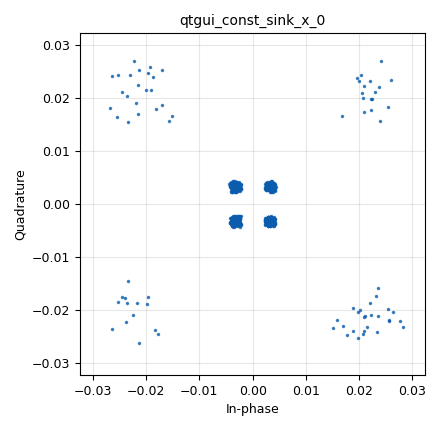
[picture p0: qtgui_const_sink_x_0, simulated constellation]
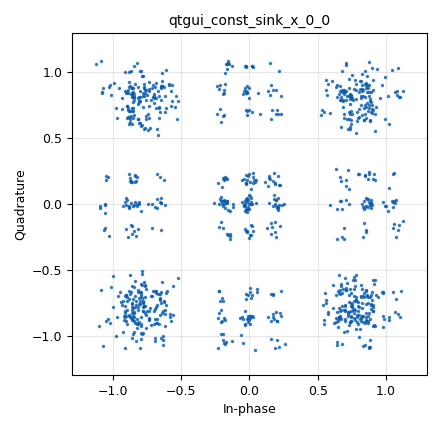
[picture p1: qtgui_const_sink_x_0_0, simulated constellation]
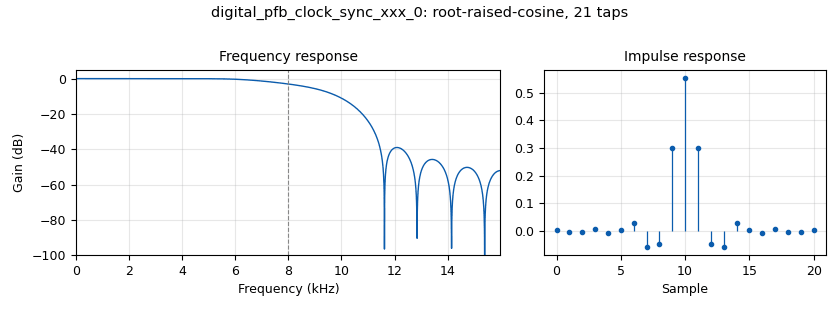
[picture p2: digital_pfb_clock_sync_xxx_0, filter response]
options:
  parameters:
    author: Tomasz Sokołowski
    generate_options: qt_gui
    id: polyphase_clock_sync_demo
    output_language: python
    title: qpsk_constellation
  states: {}

blocks:
- name: constellation
  id: variable_constellation_rect
  parameters:
    const_points: '[-1-1j, -1+1j, 1+1j, 1-1j]'
    imag_sect: '2'
    real_sect: '2'
    rot_sym: '4'
    sym_map: '[0, 1, 3, 2]'
    w_imag_sect: '1'
    w_real_sect: '1'
  states: {}
- name: rrc_filter_taps
  id: variable_rrc_filter_taps
  parameters:
    alpha: '0.4'
    gain: '1.0'
    ntaps: 10*sps
    samp_rate: samp_rate
    sym_rate: samp_rate/sps
  states: {}
- name: samp_rate
  id: variable
  parameters:
    value: '32000'
  states: {}
- name: sps
  id: variable
  parameters:
    value: '2'
  states: {}
- name: analog_random_source_x_0
  id: analog_random_source_x
  parameters:
    max: '256'
    min: '0'
    num_samps: '10000'
    repeat: 'True'
    type: byte
  states: {}
- name: blocks_throttle_0
  id: blocks_throttle
  parameters:
    samples_per_second: samp_rate
    type: complex
  states: {}
- name: blocks_vector_source_x_0
  id: blocks_vector_source_x
  parameters:
    repeat: 'True'
    type: byte
    vector: (0, 0, 1, 0, 1, 1, 1, 1, 1, 0, 0, 1, 0, 1, 1, 1, 1, 1, 1, 0)
  states: {state: disabled}
- name: digital_constellation_modulator_0
  id: digital_constellation_modulator
  parameters:
    constellation: constellation
    differential: 'False'
    excess_bw: '0.35'
    samples_per_symbol: sps
    verbose: 'True'
  states: {}
- name: digital_pfb_clock_sync_xxx_0
  id: digital_pfb_clock_sync_xxx
  parameters:
    filter_size: '32'
    init_phase: '16'
    loop_bw: 2*3.14/100
    max_dev: '1.5'
    osps: '1'
    sps: sps
    taps: rrc_filter_taps
    type: ccf
  states: {}
- name: qtgui_const_sink_x_0
  id: qtgui_const_sink_x
  parameters:
    autoscale: 'True'
    size: '1024'
    type: complex
  states: {}
- name: qtgui_const_sink_x_0_0
  id: qtgui_const_sink_x
  parameters:
    autoscale: 'True'
    size: '1024'
    type: complex
  states: {}

connections:
- [analog_random_source_x_0, '0', digital_constellation_modulator_0, '0']
- [blocks_throttle_0, '0', digital_pfb_clock_sync_xxx_0, '0']
- [blocks_vector_source_x_0, '0', digital_constellation_modulator_0, '0']
- [digital_constellation_modulator_0, '0', blocks_throttle_0, '0']
- [digital_constellation_modulator_0, '0', qtgui_const_sink_x_0_0, '0']
- [digital_pfb_clock_sync_xxx_0, '0', qtgui_const_sink_x_0, '0']

metadata:
  file_format: 1
